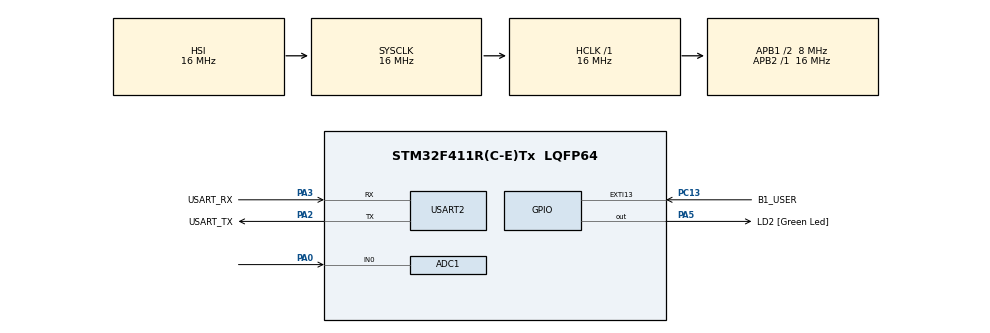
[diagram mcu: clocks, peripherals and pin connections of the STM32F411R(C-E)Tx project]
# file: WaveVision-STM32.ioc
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ADC1.Channel-0\#ChannelRegularConversion=ADC_CHANNEL_0
ADC1.ContinuousConvMode=DISABLE
ADC1.DMAContinuousRequests=ENABLE
ADC1.ExternalTrigConv=ADC_EXTERNALTRIGCONV_T2_TRGO
ADC1.NbrOfConversionFlag=1
ADC1.Rank-0\#ChannelRegularConversion=1
ADC1.SamplingTime-0\#ChannelRegularConversion=ADC_SAMPLETIME_3CYCLES
ADC1.master=1
Dma.ADC1.0.Direction=DMA_PERIPH_TO_MEMORY
Dma.ADC1.0.FIFOMode=DMA_FIFOMODE_DISABLE
Dma.ADC1.0.Instance=DMA2_Stream0
Dma.ADC1.0.MemDataAlignment=DMA_MDATAALIGN_HALFWORD
Dma.ADC1.0.MemInc=DMA_MINC_ENABLE
Dma.ADC1.0.Mode=DMA_CIRCULAR
Dma.ADC1.0.PeriphDataAlignment=DMA_PDATAALIGN_HALFWORD
Dma.ADC1.0.PeriphInc=DMA_PINC_DISABLE
Dma.ADC1.0.Priority=DMA_PRIORITY_LOW
Dma.Request0=ADC1
Mcu.Family=STM32F4
Mcu.Name=STM32F411R(C-E)Tx
Mcu.Package=LQFP64
NVIC.DMA2_Stream0_IRQn=true\:0\:0\:false\:false\:true\:false\:true\:true
NVIC.EXTI15_10_IRQn=true\:0\:0\:false\:false\:true\:true\:true\:true
NVIC.PriorityGroup=NVIC_PRIORITYGROUP_0
NVIC.TIM2_IRQn=true\:0\:0\:false\:false\:true\:true\:true\:true
PA0-WKUP.Signal=ADCx_IN0
PA13.GPIO_Label=TMS
PA13.Mode=Serial_Wire
PA13.Signal=SYS_JTMS-SWDIO
PA14.GPIO_Label=TCK
PA14.Mode=Serial_Wire
PA14.Signal=SYS_JTCK-SWCLK
PA2.GPIO_Label=USART_TX
PA2.Mode=Asynchronous
PA2.Signal=USART2_TX
PA3.GPIO_Label=USART_RX
PA3.Mode=Asynchronous
PA3.Signal=USART2_RX
PA5.GPIO_Label=LD2 [Green Led]
PA5.Signal=GPIO_Output
PB3.GPIO_Label=SWO
PB3.Signal=SYS_JTDO-SWO
PC13-ANTI_TAMP.GPIO_Label=B1_USER
PC13-ANTI_TAMP.Signal=GPXTI13
PC14-OSC32_IN.Mode=LSE-External-Oscillator
PC14-OSC32_IN.Signal=RCC_OSC32_IN
PC15-OSC32_OUT.Mode=LSE-External-Oscillator
PC15-OSC32_OUT.Signal=RCC_OSC32_OUT
PH0\ -\ OSC_IN.Mode=HSE-External-Clock-Source
PH0\ -\ OSC_IN.Signal=RCC_OSC_IN
PH1\ -\ OSC_OUT.Mode=HSE-External-Clock-Source
PH1\ -\ OSC_OUT.Signal=RCC_OSC_OUT
ProjectManager.HeapSize=0x200
ProjectManager.StackSize=0x400
ProjectManager.TargetToolchain=CMake
RCC.48MHZClocksFreq_Value=84000000
RCC.AHBFreq_Value=16000000
RCC.APB1CLKDivider=RCC_HCLK_DIV2
RCC.APB1Freq_Value=8000000
RCC.APB1TimFreq_Value=16000000
RCC.APB2Freq_Value=16000000
RCC.APB2TimFreq_Value=16000000
RCC.CortexFreq_Value=16000000
RCC.FLatency-AdvancedSettings=FLASH_LATENCY_0
RCC.HCLKFreq_Value=16000000
RCC.HSE_VALUE=8000000
RCC.HSI_VALUE=16000000
RCC.PLLN=336
RCC.PLLP=RCC_PLLP_DIV4
RCC.SYSCLKFreq_VALUE=16000000
RCC.VCOOutputFreq_Value=336000000
SH.ADCx_IN0.0=ADC1_IN0,IN0
TIM2.AutoReloadPreload=TIM_AUTORELOAD_PRELOAD_ENABLE
TIM2.Period=9999
TIM2.Prescaler=0
TIM2.TIM_MasterOutputTrigger=TIM_TRGO_UPDATE
USART2.VirtualMode=VM_ASYNC
VP_TIM2_VS_ClockSourceINT.Mode=Internal
board=NUCLEO-F411RE

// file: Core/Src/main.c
/* USER CODE BEGIN Header */
/**
  ******************************************************************************
  * @file           : main.c
  * @brief          : Main program body
  ******************************************************************************
  * @attention
  *
  * Copyright (c) 2026 STMicroelectronics.
  * All rights reserved.
  *
  * This software is licensed under terms that can be found in the LICENSE file
  * in the root directory of this software component.
  * If no LICENSE file comes with this software, it is provided AS-IS.
  *
  ******************************************************************************
  */
/* USER CODE END Header */
#include "main.h"
#include "adc.h"
#include "dma.h"
#include "tim.h"
#include "usart.h"
#include "gpio.h"

/* USER CODE BEGIN Includes */
#include <stdio.h>
#include <string.h>
#include "audio_engine.h"
/* USER CODE END Includes */

void SystemClock_Config(void);

int main(void)
{

    /* MCU Configuration--------------------------------------------------------*/

    /* Reset of all peripherals, Initializes the Flash interface and the Systick. */
    HAL_Init();

    /* Configure the system clock */
    SystemClock_Config();

    /* Initialize all configured peripherals */
    MX_GPIO_Init();
    MX_DMA_Init();
    MX_USART2_UART_Init();
    MX_TIM2_Init();
    MX_ADC1_Init();
    /* USER CODE BEGIN 2 */
    HAL_TIM_Base_Start_IT(&htim2);
    HAL_ADC_Start_DMA(&hadc1, (uint32_t*)adc_buffer, 100);
    /* USER CODE END 2 */

    /* Infinite loop */
    /* USER CODE BEGIN WHILE */

    while (1)
    {
        char msg[64];
        uint16_t min_v = 4095, max_v = 0;
        for(int i = 0; i < 1000; i++) {
            if(adc_buffer[i] < min_v) min_v = adc_buffer[i];
            if(adc_buffer[i] > max_v) max_v = adc_buffer[i];
        }

        uint16_t amp = max_v - min_v;
        int len = sprintf(msg, "Amplituda: %hu\r\n", amp);
        HAL_UART_Transmit(&huart2, (uint8_t*)msg, len, 100);
        HAL_Delay(200);

        if (HAL_GPIO_ReadPin(B1_USER_GPIO_Port, B1_USER_Pin) == GPIO_PIN_RESET)
        {
            __HAL_TIM_SET_AUTORELOAD(&htim2, 2000);
        }
        else
        {
            __HAL_TIM_SET_AUTORELOAD(&htim2, 9999);
        }
        /*GPIOA->BSRR = (1<<5);
        HAL_Delay(500);

        GPIOA->BSRR=(1<<(5+16));
        HAL_Delay(500);
        */

        /* USER CODE END WHILE */

    }
}

void SystemClock_Config(void)
{
    RCC_OscInitTypeDef RCC_OscInitStruct = {0};
    RCC_ClkInitTypeDef RCC_ClkInitStruct = {0};

    /** Configure the main internal regulator output voltage
    */
    __HAL_RCC_PWR_CLK_ENABLE();
    __HAL_PWR_VOLTAGESCALING_CONFIG(PWR_REGULATOR_VOLTAGE_SCALE1);

    /** Initializes the RCC Oscillators according to the specified parameters
    * in the RCC_OscInitTypeDef structure.
    */
    RCC_OscInitStruct.OscillatorType = RCC_OSCILLATORTYPE_HSI;
    RCC_OscInitStruct.HSIState = RCC_HSI_ON;
    RCC_OscInitStruct.HSICalibrationValue = RCC_HSICALIBRATION_DEFAULT;
    RCC_OscInitStruct.PLL.PLLState = RCC_PLL_NONE;
    if (HAL_RCC_OscConfig(&RCC_OscInitStruct) != HAL_OK)
    {
        Error_Handler();
    }

    /** Initializes the CPU, AHB and APB buses clocks
    */
    RCC_ClkInitStruct.ClockType = RCC_CLOCKTYPE_HCLK | RCC_CLOCKTYPE_SYSCLK
        | RCC_CLOCKTYPE_PCLK1 | RCC_CLOCKTYPE_PCLK2;
    RCC_ClkInitStruct.SYSCLKSource = RCC_SYSCLKSOURCE_HSI;
    RCC_ClkInitStruct.AHBCLKDivider = RCC_SYSCLK_DIV1;
    RCC_ClkInitStruct.APB1CLKDivider = RCC_HCLK_DIV2;
    RCC_ClkInitStruct.APB2CLKDivider = RCC_HCLK_DIV1;

    if (HAL_RCC_ClockConfig(&RCC_ClkInitStruct, FLASH_LATENCY_0) != HAL_OK)
    {
        Error_Handler();
    }
}

/* USER CODE BEGIN 4 */

void HAL_ADC_ConvHalfCpltCallback(ADC_HandleTypeDef* hadc)
{
    HAL_GPIO_TogglePin(LD2_GPIO_Port,LD2_Pin);
}

void HAL_ADC_ConvCpltCallback(ADC_HandleTypeDef* hadc)
{
    uint16_t min_val = 4095;
    uint16_t max_val = 0;

    for (int i = 1000; i < 2000; i++)
    {
        if (adc_buffer[i] < min_val)min_val = adc_buffer[i];
        if (adc_buffer[i] > max_val)max_val = adc_buffer[i];
    }
    uint16_t amplitude = max_val - min_val;
}

void HAL_TIM_PeriodElapsedCallback(TIM_HandleTypeDef* htim)
{
    if (htim->Instance == TIM2)
    {
        //    HAL_GPIO_TogglePin(GPIOA, GPIO_PIN_5);
    }
}

void HAL_GPIO_EXTI_Callback(uint16_t GPIO_Pin)
{
    /*static uint32_t last_interrupt_time = 0;
    uint32_t current_time = HAL_GetTick();
    if (GPIO_Pin == B1_USER_Pin)
    {
        if (current_time - last_interrupt_time >= 50)
        {
            HAL_GPIO_TogglePin(GPIOA, GPIO_PIN_5);
        }
    }*/
}

/* USER CODE END 4 */

void Error_Handler(void)
{
    __disable_irq();
    while (1)
    {
    }
}
